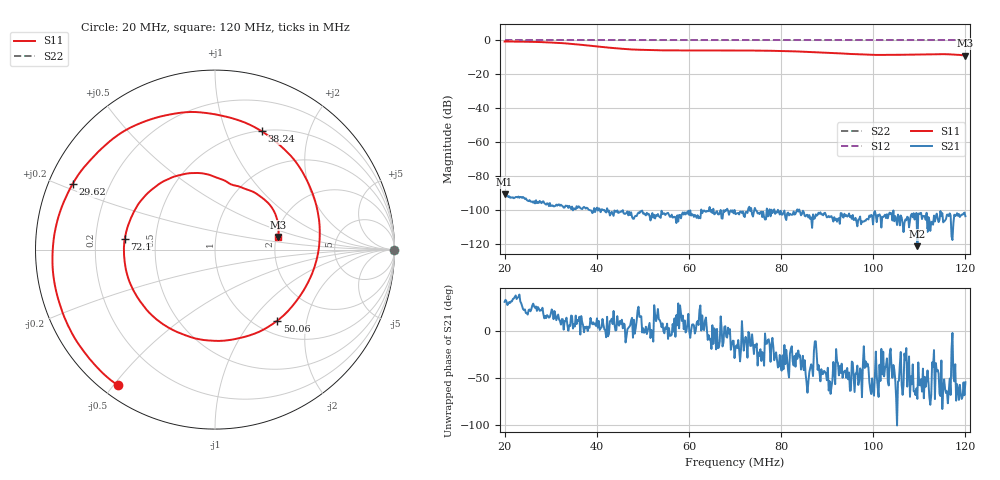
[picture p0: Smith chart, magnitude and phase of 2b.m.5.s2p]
! Anritsu VNA Master:  Model: MS2036C/10/77
! SN:  1601066
! /card0/usr/18may27.balun/252b.m5.s2p
! Existing Calibration Information:
! TYPE:  Current Settings,  Active Cal Settings
! TIME:  05/27/2018 01:08:15 PM,  05/27/2018 12:49:51 PM
! INTERNAL TEMP:  52.0 C,  52.5 C
! # POINTS:  500,  500
! START FREQ:  20.000 MHz,  20.000 MHz
! STOP FREQ:  120.000 MHz,  120.000 MHz
! SOURCE POWER:  High,  High
! IFBW:  50 Hz,  50 Hz
! AVG FACTOR:  1 ,  1
! REF PLANE 1:  0 mm,  0 mm
! REF PLANE 2:  0 mm,  0 mm
! CAL TYPE:  Full S11,  Full S11
! CAL METHOD:  SOLT,  SOLT
! CAL LINE TYPE:  Coax,  Coax
! DUT PORT 1:  K-Conn(M),  K-Conn(M)
! DUT PORT 2:  K-Conn(M),  K-Conn(M)
! CAL STATUS:  OK: Accuracy High,  --
# GHZ S DB R 50.0
! FREQ.GHZ  S11DB  S11A  S21DB  S21A  S12DB  S12A  S22DB  S22A
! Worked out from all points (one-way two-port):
!   500 points, 20 MHz to 120 MHz, reference 50 ohm
!   highest |S21| = -90.79 dB at 20 MHz (marker M1); lowest = -121.5 dB at 109.6 MHz (marker M2)
!   lowest |S11| = -8.9 dB at 120 MHz (marker M3), VSWR 2.12, Z = 102 + j16.7 ohm
!   |S11| at or under -10 dB: nowhere
!   |S22| runs from 0.0 to 0.0 dB; largest |S21 - S12| = 1
!   S11 on the Smith chart (normalised r, x): 20 MHz: 0.05, -0.51; 29.62 MHz: 0.07, +0.22; 38.24 MHz: 0.51, +1.34; 50.06 MHz: 1.24, -1.36; 72.1 MHz: 0.33, +0.05; 120 MHz: 2.05, +0.33
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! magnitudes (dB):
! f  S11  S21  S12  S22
! 20 MHz  -0.6  -90.8  0.0  0.0
! 25.81 MHz  -0.8  -95.3  0.0  0.0
! 29.62 MHz  -1.2  -97.9  0.0  0.0
! 32.83 MHz  -1.7  -98.8  0.0  0.0
! 36.83 MHz  -2.6  -99.6  0.0  0.0
! 38.24 MHz  -3.0  -100.0  0.0  0.0
! 44.45 MHz  -4.7  -100.4  0.0  0.0
! 47.45 MHz  -5.3  -101.5  0.0  0.0
! 50.06 MHz  -5.6  -102.3  0.0  0.0
! 53.47 MHz  -5.8  -103.9  0.0  0.0
! 58.28 MHz  -5.9  -105.1  0.0  0.0
! 70.1 MHz  -5.9  -102.6  0.0  0.0
! 72.1 MHz  -5.9  -104.3  0.0  0.0
! 79.32 MHz  -6.2  -100.1  0.0  0.0
! 86.73 MHz  -6.8  -110.7  0.0  0.0
! 94.95 MHz  -8.0  -104.4  0.0  0.0
! 99.76 MHz  -8.5  -103.5  0.0  0.0
! 103.4 MHz  -8.5  -102.8  0.0  0.0
! 109.6 MHz  -8.2  -121.5  0.0  0.0
! 115.4 MHz  -8.1  -106.8  0.0  0.0
! 117.8 MHz  -8.4  -103.7  0.0  0.0
! 120 MHz  -8.9  -103.9  0.0  0.0
